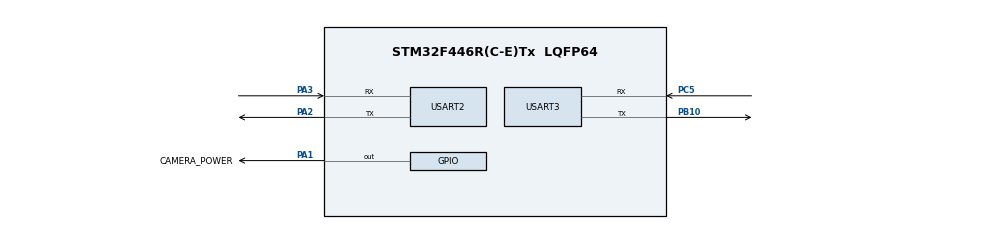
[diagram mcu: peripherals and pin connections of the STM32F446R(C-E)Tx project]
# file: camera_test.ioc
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Dma.Request0=USART2_RX
Dma.USART2_RX.0.Direction=DMA_PERIPH_TO_MEMORY
Dma.USART2_RX.0.FIFOMode=DMA_FIFOMODE_DISABLE
Dma.USART2_RX.0.Instance=DMA1_Stream5
Dma.USART2_RX.0.MemDataAlignment=DMA_MDATAALIGN_BYTE
Dma.USART2_RX.0.MemInc=DMA_MINC_ENABLE
Dma.USART2_RX.0.Mode=DMA_CIRCULAR
Dma.USART2_RX.0.PeriphDataAlignment=DMA_PDATAALIGN_BYTE
Dma.USART2_RX.0.PeriphInc=DMA_PINC_DISABLE
Dma.USART2_RX.0.Priority=DMA_PRIORITY_LOW
Mcu.Family=STM32F4
Mcu.Name=STM32F446R(C-E)Tx
Mcu.Package=LQFP64
NVIC.DMA1_Stream5_IRQn=true\:0\:0\:false\:false\:true\:false\:true\:true
NVIC.PriorityGroup=NVIC_PRIORITYGROUP_4
PA1.GPIO_Label=CAMERA_POWER
PA1.Signal=GPIO_Output
PA2.Mode=Asynchronous
PA2.Signal=USART2_TX
PA3.Mode=Asynchronous
PA3.Signal=USART2_RX
PB10.Mode=Asynchronous
PB10.Signal=USART3_TX
PC5.Mode=Asynchronous
PC5.Signal=USART3_RX
ProjectManager.HeapSize=0x200
ProjectManager.StackSize=0x400
ProjectManager.TargetToolchain=STM32CubeIDE
RCC.CortexFreq_Value=16000000
RCC.USBFreq_Value=96000000
RCC.VCOOutputFreq_Value=192000000
USART2.VirtualMode=VM_ASYNC
USART3.VirtualMode=VM_ASYNC
board=custom

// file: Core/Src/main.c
/* USER CODE BEGIN Header */
/**
  ******************************************************************************
  * @file           : main.c
  * @brief          : Main program body
  ******************************************************************************
  * @attention
  *
  * Copyright (c) 2024 STMicroelectronics.
  * All rights reserved.
  *
  * This software is licensed under terms that can be found in the LICENSE file
  * in the root directory of this software component.
  * If no LICENSE file comes with this software, it is provided AS-IS.
  *
  ******************************************************************************
  */
/* USER CODE END Header */
#include "main.h"

UART_HandleTypeDef huart2;
UART_HandleTypeDef huart3;
DMA_HandleTypeDef hdma_usart2_rx;

/* USER CODE BEGIN PV */
uint8_t rxBuf[128]={};
uint8_t rxColor[3]={0,0};

int travel_x;
int travel_y;
uint8_t send_array[11];

int hue = 0;
int hue_back = 127;

/* USER CODE END PV */

void SystemClock_Config(void);
static void MX_GPIO_Init(void);
static void MX_DMA_Init(void);
static void MX_USART2_UART_Init(void);
static void MX_USART3_UART_Init(void);
/* USER CODE BEGIN PFP */
void readBuf(UART_HandleTypeDef* uart, uint8_t* buf, int buf_size, uint8_t* data, int data_size, int go_back);
int readINDEX(UART_HandleTypeDef* uart, uint8_t* buf, int buf_size);
/* USER CODE END PFP */

/* USER CODE BEGIN 0 */
void set_array(int tx, int cx, int cz, uint8_t r, uint8_t h, uint8_t h2, uint8_t v){
	send_array[0]=220;

	if(cx - tx > 48+r){
		cx = cx -((48*2) - (r*2)+1);
	}else if(cx - tx < -(48-r)){
		cx = cx + ((48*2) + (r*2)-1);
	}

//	c_x = cx;

	tx += 5000; cx += 5000; cz += 5000;
	uint8_t h_out = h/2.5;
	uint8_t h_out2 = h2/2.5;
	uint8_t v_out = v/2.5;
	for(int i = 1; i <3 ;i++){
		send_array[i] = tx%100;
		tx = (int)tx/100;
	}
	for(int i = 3; i <5 ;i++){
		send_array[i] = cx%100;
		cx = (int)cx/100;
	}
	for(int i = 5; i <7 ;i++){
		send_array[i] = cz%100;
		cz = (int)cz/100;
	}
	send_array[7] = r;
	if(h_out > 100){h_out = 100;}
	send_array[8] = h_out;
	if(h_out2 > 100){h_out2 = 100;}
	send_array[9] = h_out2;
	if(v_out > 100){v_out = 100;}
	send_array[10] = v_out;
}

uint8_t rgbToHue(int r, int g, int b) {
    // RGB値を0-15から0-1に正規化
    float rf = r / 15.0;
    float gf = g / 15.0;
    float bf = b / 15.0;

    // 最大値、最小値、および範囲を求める
    float max_val = rf;
    if (gf > max_val) max_val = gf;
    if (bf > max_val) max_val = bf;

    float min_val = rf;
    if (gf < min_val) min_val = gf;
    if (bf < min_val) min_val = bf;

    float delta = max_val - min_val;

    float h = 0.0;

    // 色相（H）の計算
    if (delta == 0) {
        h = 0; // 無彩色（グレースケール）
    } else {
        if (max_val == rf) {
            h = 60 * ((gf - bf) / delta);
            if (h < 0) h += 360; // Hが負の場合360を加算
        } else if (max_val == gf) {
            h = 60 * ((bf - rf) / delta + 2);
        } else if (max_val == bf) {
            h = 60 * ((rf - gf) / delta + 4);
        }
    }

    // Hを0-255の範囲にスケール変換
    h = (h / 360) * 255;

    return h;
}
/* USER CODE END 0 */

int main(void)
{

  /* MCU Configuration--------------------------------------------------------*/

  /* Reset of all peripherals, Initializes the Flash interface and the Systick. */
  HAL_Init();

  /* Configure the system clock */
  SystemClock_Config();

  /* Initialize all configured peripherals */
  MX_GPIO_Init();
  MX_DMA_Init();
  MX_USART2_UART_Init();
  MX_USART3_UART_Init();
  /* USER CODE BEGIN 2 */

  HAL_UART_Receive_DMA(&huart2,rxBuf,128);

  /* USER CODE END 2 */

  /* Infinite loop */
  /* USER CODE BEGIN WHILE */
  HAL_GPIO_WritePin(CAMERA_POWER_GPIO_Port, CAMERA_POWER_Pin, GPIO_PIN_SET);

  while (1)
  {
    /* USER CODE END WHILE */

    /* USER CODE BEGIN 3 */
		readBuf(&huart2, rxBuf, 128, rxColor, 3, 10);
		HAL_Delay(1000);

//		travel_x = -1*odom1.get_travel() - xf;
//		travel_y = -1*odom2.get_travel() - yf;

		travel_x = 31;

		if( (rxColor[0]==15 && rxColor[1]==15) && rxColor[2]==15){
			hue = hue_back;
		}else{
			hue = rgbToHue(rxColor[0],rxColor[1],rxColor[2]);
			hue_back = (hue + 90)%250;
		}

		float size = 12.0+((-1.0)*travel_y*0.1);
		set_array((-1)*travel_x, (-1)*126, 24, (int)size, hue, hue_back, 21);
		HAL_UART_Transmit(&huart3,(uint8_t*)&send_array, 11, 100);
  }
  /* USER CODE END 3 */
}

void SystemClock_Config(void)
{
  RCC_OscInitTypeDef RCC_OscInitStruct = {0};
  RCC_ClkInitTypeDef RCC_ClkInitStruct = {0};

  /** Configure the main internal regulator output voltage
  */
  __HAL_RCC_PWR_CLK_ENABLE();
  __HAL_PWR_VOLTAGESCALING_CONFIG(PWR_REGULATOR_VOLTAGE_SCALE3);

  /** Initializes the RCC Oscillators according to the specified parameters
  * in the RCC_OscInitTypeDef structure.
  */
  RCC_OscInitStruct.OscillatorType = RCC_OSCILLATORTYPE_HSI;
  RCC_OscInitStruct.HSIState = RCC_HSI_ON;
  RCC_OscInitStruct.HSICalibrationValue = RCC_HSICALIBRATION_DEFAULT;
  RCC_OscInitStruct.PLL.PLLState = RCC_PLL_NONE;
  if (HAL_RCC_OscConfig(&RCC_OscInitStruct) != HAL_OK)
  {
    Error_Handler();
  }

  /** Initializes the CPU, AHB and APB buses clocks
  */
  RCC_ClkInitStruct.ClockType = RCC_CLOCKTYPE_HCLK|RCC_CLOCKTYPE_SYSCLK
                              |RCC_CLOCKTYPE_PCLK1|RCC_CLOCKTYPE_PCLK2;
  RCC_ClkInitStruct.SYSCLKSource = RCC_SYSCLKSOURCE_HSI;
  RCC_ClkInitStruct.AHBCLKDivider = RCC_SYSCLK_DIV1;
  RCC_ClkInitStruct.APB1CLKDivider = RCC_HCLK_DIV1;
  RCC_ClkInitStruct.APB2CLKDivider = RCC_HCLK_DIV1;

  if (HAL_RCC_ClockConfig(&RCC_ClkInitStruct, FLASH_LATENCY_0) != HAL_OK)
  {
    Error_Handler();
  }
}

static void MX_USART2_UART_Init(void)
{

  huart2.Instance = USART2;
  huart2.Init.BaudRate = 115200;
  huart2.Init.WordLength = UART_WORDLENGTH_8B;
  huart2.Init.StopBits = UART_STOPBITS_1;
  huart2.Init.Parity = UART_PARITY_NONE;
  huart2.Init.Mode = UART_MODE_TX_RX;
  huart2.Init.HwFlowCtl = UART_HWCONTROL_NONE;
  huart2.Init.OverSampling = UART_OVERSAMPLING_16;
  if (HAL_UART_Init(&huart2) != HAL_OK)
  {
    Error_Handler();
  }

}

static void MX_USART3_UART_Init(void)
{

  huart3.Instance = USART3;
  huart3.Init.BaudRate = 115200;
  huart3.Init.WordLength = UART_WORDLENGTH_8B;
  huart3.Init.StopBits = UART_STOPBITS_1;
  huart3.Init.Parity = UART_PARITY_NONE;
  huart3.Init.Mode = UART_MODE_TX_RX;
  huart3.Init.HwFlowCtl = UART_HWCONTROL_NONE;
  huart3.Init.OverSampling = UART_OVERSAMPLING_16;
  if (HAL_UART_Init(&huart3) != HAL_OK)
  {
    Error_Handler();
  }

}

static void MX_DMA_Init(void)
{

  /* DMA controller clock enable */
  __HAL_RCC_DMA1_CLK_ENABLE();

  /* DMA interrupt init */
  /* DMA1_Stream5_IRQn interrupt configuration */
  HAL_NVIC_SetPriority(DMA1_Stream5_IRQn, 0, 0);
  HAL_NVIC_EnableIRQ(DMA1_Stream5_IRQn);

}

static void MX_GPIO_Init(void)
{
  GPIO_InitTypeDef GPIO_InitStruct = {0};

  /* GPIO Ports Clock Enable */
  __HAL_RCC_GPIOA_CLK_ENABLE();
  __HAL_RCC_GPIOC_CLK_ENABLE();
  __HAL_RCC_GPIOB_CLK_ENABLE();

  /*Configure GPIO pin Output Level */
  HAL_GPIO_WritePin(CAMERA_POWER_GPIO_Port, CAMERA_POWER_Pin, GPIO_PIN_RESET);

  /*Configure GPIO pin : CAMERA_POWER_Pin */
  GPIO_InitStruct.Pin = CAMERA_POWER_Pin;
  GPIO_InitStruct.Mode = GPIO_MODE_OUTPUT_PP;
  GPIO_InitStruct.Pull = GPIO_NOPULL;
  GPIO_InitStruct.Speed = GPIO_SPEED_FREQ_LOW;
  HAL_GPIO_Init(CAMERA_POWER_GPIO_Port, &GPIO_InitStruct);

}

/* USER CODE BEGIN 4 */
void readBuf(UART_HandleTypeDef* uart, uint8_t* buf, int buf_size, uint8_t* data, int data_size, int go_back){
	int wrt_pt = buf_size - uart->hdmarx->Instance->NDTR;
	int rd_pt = wrt_pt - go_back;
	if(rd_pt < 0){
		rd_pt += buf_size;
	}

	while(1){
		uint8_t readData = buf[rd_pt];
//		buf[rd_pt] = 255; //読み込み済みのしるし
		if(readData == 250){ //rd_ptがスタートバイトの位置になる
			for(int i=1; i<=data_size; i++){ //rd_pt+i が今回よむポインタになるように
				if(rd_pt + i > buf_size - 1){ //回りきっていないか確認
					rd_pt = rd_pt - buf_size;
				}
				data[i-1] = buf[rd_pt + i]; //返すデータに入れる
//				buf[rd_pt+i] = 255; //読み込み済みのしるし。
			}
			break;
		}

		//次のための処理
		rd_pt++;
		if(rd_pt == buf_size){ //buf_sizeは配列の一番最後の次
			rd_pt = rd_pt - buf_size;
		}
		if(rd_pt == wrt_pt){//スタートバイトに出会えず書き込みポインタまできたら終わり
//			for(int i=0; i<data_size; i++){
//				data[i] = 255; //無かったことを表す数字
//			}
			break;
		}
	}
}

/* USER CODE END 4 */

void Error_Handler(void)
{
  __disable_irq();
  while (1)
  {
  }
}
